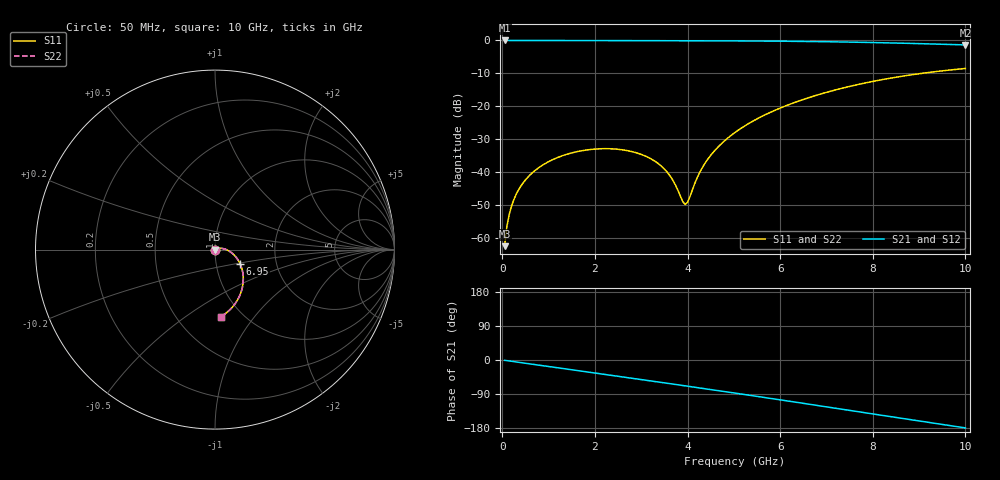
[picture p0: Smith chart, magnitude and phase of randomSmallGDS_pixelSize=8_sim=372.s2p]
! freq	dB(S11)	phase(S11)	dB(S12)	phase(S12)
!  dB(S21)	phase(S21)	dB(S22)	phase(S22)
!S-par simulation data
#  GHz  S  DB  R 50
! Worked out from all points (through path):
!   200 points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, 50 MHz to 10 GHz, reference 50 ohm
!   highest |S21| = 0.00 dB at 50 MHz (marker M1); lowest = -1.3 dB at 10 GHz (marker M2)
!   group delay of S21, straight-line fit = 49.9 ps
!   lowest |S11| = -62.5 dB at 50 MHz (marker M3), VSWR 1.00, Z = 50 - j0.0751 ohm
!   |S11| at or under -10 dB: start of sweep to 9.055 GHz
!   |S22| runs from -62.5 to -8.5 dB; largest |S21 - S12| = 0
!   S11 on the Smith chart (normalised r, x): 50 MHz: 1.00, -0.00; 6.95 GHz: 1.30, -0.21; 10 GHz: 0.80, -0.69
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0.05  -62.48 -89.6  -0.00 -0.9  -0.00 -0.9  -62.49 -89.6
0.1  -56.40 -91.9  -0.00 -1.7  -0.00 -1.7  -56.40 -92.0
0.2  -50.28 -94.3  -0.00 -3.5  -0.00 -3.5  -50.28 -94.4
0.35  -45.40 -97.1  -0.00 -6.1  -0.00 -6.1  -45.40 -97.1
0.5  -42.36 -99.7  -0.01 -8.6  -0.01 -8.6  -42.36 -99.8
1  -36.81 -108.8  -0.02 -17.2  -0.02 -17.2  -36.81 -108.8
1.75  -33.42 -122.7  -0.03 -30.1  -0.03 -30.1  -33.42 -122.8
2.7  -33.46 -141.4  -0.05 -46.4  -0.05 -46.4  -33.46 -141.5
3.1  -35.18 -150.7  -0.06 -53.3  -0.06 -53.3  -35.18 -150.9
3.4  -37.76 -159.9  -0.07 -58.6  -0.07 -58.6  -37.75 -160.2
3.65  -41.71 -173.1  -0.07 -62.9  -0.07 -62.9  -41.69 -173.5
3.95  -49.80 116.7  -0.08 -68.2  -0.08 -68.2  -49.62 116.6
4  -49.17 92.5  -0.09 -69.1  -0.09 -69.1  -49.01 92.8
4.2  -41.97 43.8  -0.09 -72.6  -0.09 -72.6  -41.93 44.3
4.4  -36.82 29.2  -0.10 -76.2  -0.10 -76.2  -36.80 29.5
4.7  -31.77 18.1  -0.12 -81.5  -0.12 -81.5  -31.76 18.3
5.05  -27.69 9.0  -0.14 -87.8  -0.14 -87.8  -27.69 9.2
5.75  -22.08 -5.9  -0.19 -100.5  -0.19 -100.5  -22.08 -5.7
6.7  -17.01 -24.4  -0.33 -118.0  -0.33 -118.0  -17.01 -24.3
6.95  -15.96 -29.1  -0.37 -122.7  -0.37 -122.7  -15.96 -29.1
8.35  -11.53 -55.4  -0.73 -148.8  -0.73 -148.8  -11.53 -55.3
10  -8.52 -85.0  -1.35 -179.2  -1.35 -179.2  -8.52 -85.0
